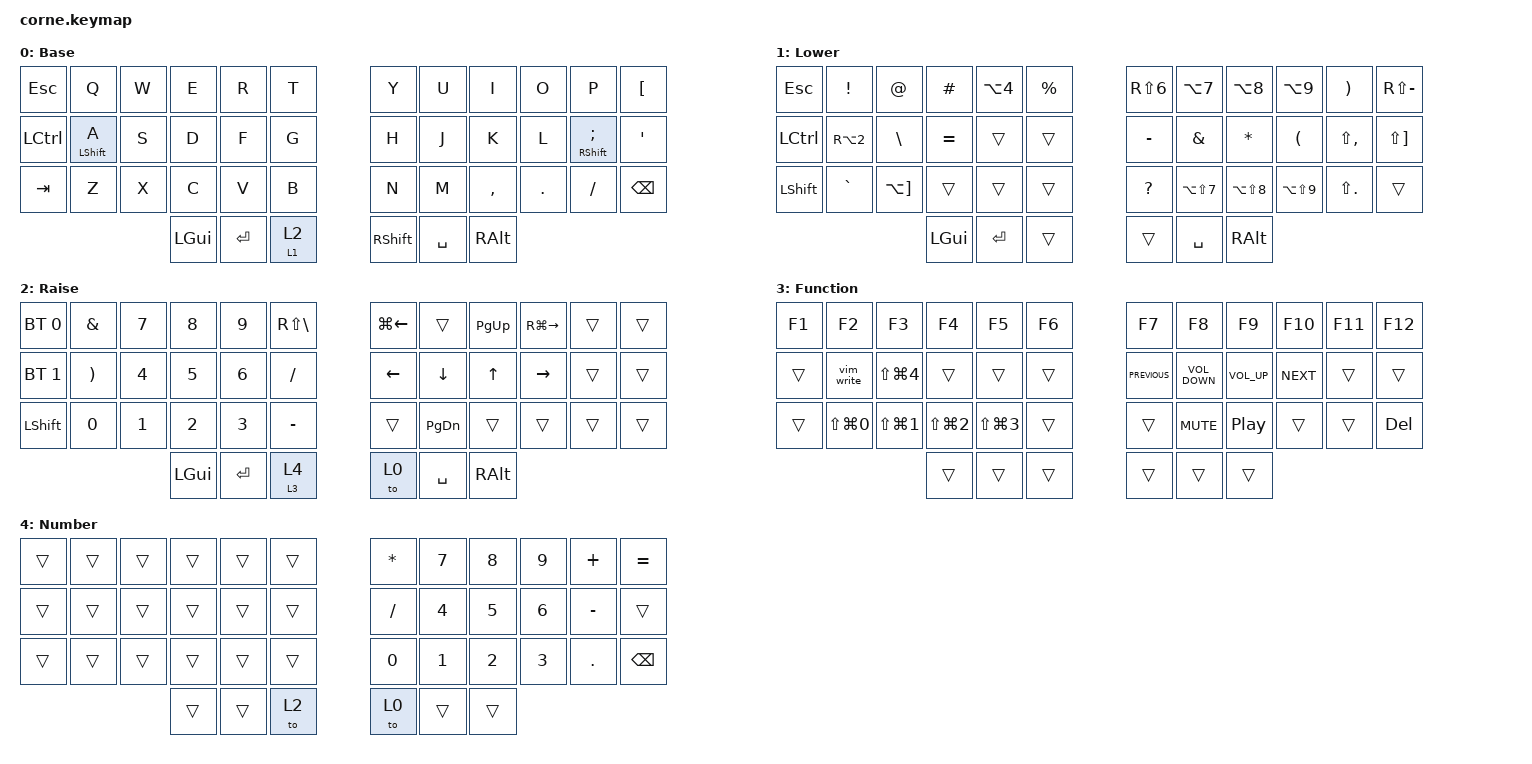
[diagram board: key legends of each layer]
/*
 * Copyright (c) 2020 The ZMK Contributors
 *
 * SPDX-License-Identifier: MIT
 */

#define HOST_OS 2

#define MO_TOG(layer) &mo_tog layer layer

#include <behaviors.dtsi>
#include <dt-bindings/zmk/bt.h>
#include <dt-bindings/zmk/keys.h>
#include "helper.h"
#include "./keypos_def/keypos_36keys.h"
#include "./international_chars/swedish.dtsi"

&mt { tapping-term-ms = <400>; };

/ {
    combos {
        compatible = "zmk,combos";

        Escape {
            bindings = <&kp ESCAPE>;
            key-positions = <16 19>;
        };

        LShift {
            bindings = <&kp LEFT_SHIFT>;
            key-positions = <15 16>;
        };

        RShift {
            bindings = <&kp RIGHT_SHIFT>;
            key-positions = <19 20>;
        };

        Shift {
            bindings = <&kp LSHIFT>;
            key-positions = <37 40>;
            timeout-ms = <100>;
            layers = <0>;
        };

        function_layer {
            bindings = <&mo 3>;
            key-positions = <38 39>;
        };
    };

    behaviors {
        mo_tog: behavior_mo_tog {
            compatible = "zmk,behavior-hold-tap";
            #binding-cells = <2>;
            flavor = "hold-preferred";
            tapping-term-ms = <200>;
            bindings = <&mo>, <&tog>;
        };

        hml: balanced_homerow_mods_left {
            compatible = "zmk,behavior-hold-tap";
            label = "HML";
            #binding-cells = <2>;
            tapping-term-ms = <280>;    // <---[[moderate duration]]
            quick-tap-ms = <175>;
            flavor = "balanced";
            bindings = <&kp>, <&kp>;

            hold-trigger-on-release;
            require-prior-idle-ms = <150>;
            hold-trigger-key-positions = <6 18 8 9 7 10 11 23 35 34 22 21 20 19 30 32 31 33 41 40 39 38 37 36>;
        };

        hmr: hmr {
            compatible = "zmk,behavior-hold-tap";
            label = "HMR";
            #binding-cells = <2>;
            tapping-term-ms = <280>;
            quick-tap-ms = <175>;
            flavor = "balanced";
            bindings = <&kp>, <&kp>;

            hold-trigger-on-release;
            require-prior-idle-ms = <150>;
            hold-trigger-key-positions = <41 40 39 38 37 36 0 1 2 3 4 5 12 13 14 15 16 17 24 25 26 27 28 29>;
        };
    };

    macros {
        vim_write: vim_write {
            compatible = "zmk,behavior-macro";
            #binding-cells = <0>;
            bindings = <&none &kp GT &kp W &kp RET>;
            label = "VIM_WRITE";
        };
    };

    keymap {
        compatible = "zmk,keymap";

        default_layer {
            // —————————————————————————————————   —————————————————————————————————
            // | ESC | q | w |  e  |  r  |  t  |   |  y  |  u  |  i  | o | p |  å  |
            // | CTRL| a | s |  d  |  f  |  g  |   |  h  |  j  |  k  | l | ö |  ä  |
            // | TAB | z | x |  c  |  v  |  b  |   |  n  |  m  |  ,  | . | - | BKS |
            //               | GUI | ENT | RSE |   | LWR | SPC | ALT |
            //               ———————————————————   ———————————————————

            label = "Base";
            bindings = <
&kp ESC    &kp Q              &kp W  &kp E     &kp R    &kp T          &kp Y            &kp U      &kp I      &kp O    &kp P                       &kp LEFT_BRACKET
&kp LCTRL  &hml LEFT_SHIFT A  &kp S  &kp D     &kp F    &kp G          &kp H            &kp J      &kp K      &kp L    &hmr RIGHT_SHIFT SEMICOLON  &kp SQT
&kp TAB    &kp Z              &kp X  &kp C     &kp V    &kp B          &kp N            &kp M      &kp COMMA  &kp DOT  &kp SLASH                   &kp BACKSPACE
                                     &kp LGUI  &kp RET  &mo_tog 1 2    &kp RIGHT_SHIFT  &kp SPACE  &kp RALT
            >;
        };

        lower_layer {
            // ———————————————————————————————————   ———————————————————————————————
            // | ESC  | ! | " |  #  |  $  |  %  |   |  &  |  |  |  [  | ] | = | ? |
            // | CTRL | @ | ' |  ´  |     |     |   |  +  |  /  |  (  | ) | ; | ^ |
            // | SFT  | < | ~ |     |     |     |   |  _  |  \  |  {  | } | : |   |
            //                | GUI | ENT | LWR |   | RSE | SPC | ALT |
            //                 ———————————————————   ———————————————————

            label = "Lower";
            bindings = <
&kp ESC         &kp EXCLAMATION   &kp AT_SIGN            &kp HASH   &kp LA(N4)  &kp PERCENT    &kp RS(N6)    &kp LA(N7)      &kp LA(N8)      &kp LA(N9)            &kp RIGHT_PARENTHESIS  &kp RS(MINUS)
&kp LCTRL       &kp RA(NUMBER_2)  &kp BACKSLASH          &kp EQUAL  &trans      &trans         &kp MINUS     &kp AMPERSAND   &kp ASTERISK    &kp LEFT_PARENTHESIS  &kp LS(COMMA)          &kp LS(RIGHT_BRACKET)
&kp LEFT_SHIFT  &kp GRAVE         &kp LA(RIGHT_BRACKET)  &trans     &trans      &trans         &kp QUESTION  &kp LA(LS(N7))  &kp LA(LS(N8))  &kp LA(LS(N9))        &kp LS(DOT)            &trans
                                                         &kp LGUI   &kp RET     &trans         &trans        &kp SPACE       &kp RALT
            >;
        };

        raise_layer {
            // —————————————————————————————————   ———————————————————————————————
            // | BTj | / | 7 |  8  |  9  |  *  |   | HME |     | PUP |   |   |   |
            // | BT1 | = | 4 |  5  |  6  |  -  |   |  ⬅  |  ⬇  |  ⬆  | ➡ |   |   |
            // | BT2 | 0 | 1 |  2  |  3  |  +  |   |     | PDN |     |   |   |   |
            //               | GUI | ENT | LWR |   | RSE | SPC | ALT |
            //               ———————————————————   ———————————————————

            label = "Raise";
            bindings = <
&bt BT_SEL 0    &kp AMPERSAND          &kp N7  &kp N8        &kp N9   &kp RS(BACKSLASH)    &kp LG(LEFT_ARROW)  &trans         &kp PAGE_UP  &kp RG(RIGHT)  &trans  &trans
&bt BT_SEL 1    &kp RIGHT_PARENTHESIS  &kp N4  &kp N5        &kp N6   &kp SLASH            &kp LEFT            &kp DOWN       &kp UP       &kp RIGHT      &trans  &trans
&kp LEFT_SHIFT  &kp N0                 &kp N1  &kp N2        &kp N3   &kp MINUS            &trans              &kp PAGE_DOWN  &trans       &trans         &trans  &trans
                                               &kp LEFT_GUI  &kp RET  &mo_tog 3 4          &to 0               &kp SPACE      &kp RALT
            >;
        };

        function_layer {
            // ——————————————————————————————————   —————————————————————————————————————
            // | F1 | F2 | F3 |  F4 |  F5 |  F6 |   |  F7 |  F8  |  F9  | F10 | F11 | F12 |
            // |    | :w |    |     |     |     |   | pre | vol+ | vol- | nex |     |     |
            // |    |    |    |     |     |     |   |     | MUTE | PLAY |     |     |     |
            //                | GUI | ENT | LWR |   | RSE | SPC  | ALT  |
            //                ———————————————————   —————————————————————
            //

            bindings = <
&kp F1  &kp F2                &kp F3                &kp F4                &kp F5                &kp F6    &kp F7          &kp F8             &kp F9            &kp F10     &kp F11  &kp F12
&trans  &vim_write            &kp LS(LG(NUMBER_4))  &trans                &trans                &trans    &kp C_PREVIOUS  &kp C_VOLUME_DOWN  &kp C_VOLUME_UP   &kp C_NEXT  &trans   &trans
&trans  &kp LS(LG(NUMBER_0))  &kp LS(LG(NUMBER_1))  &kp LS(LG(NUMBER_2))  &kp LS(LG(NUMBER_3))  &trans    &trans          &kp K_MUTE         &kp C_PLAY_PAUSE  &trans      &trans   &kp DELETE
                                                    &trans                &trans                &trans    &trans          &trans             &trans
            >;

            label = "Function";
        };

        number_layer {
          label = "Number";
            bindings = <
&trans  &trans  &trans  &trans  &trans  &trans    &kp ASTERISK  &kp NUMBER_7  &kp NUMBER_8  &kp NUMBER_9  &kp PLUS   &kp EQUAL
&trans  &trans  &trans  &trans  &trans  &trans    &kp SLASH     &kp NUMBER_4  &kp NUMBER_5  &kp NUMBER_6  &kp MINUS  &trans
&trans  &trans  &trans  &trans  &trans  &trans    &kp N0        &kp NUMBER_1  &kp NUMBER_2  &kp NUMBER_3  &kp DOT    &kp BACKSPACE
                        &trans  &trans  &to 2     &to 0         &trans        &trans
            >;

            label = "Number";
        };
    };

    conditional_layers { compatible = "zmk,conditional-layers"; };
};
